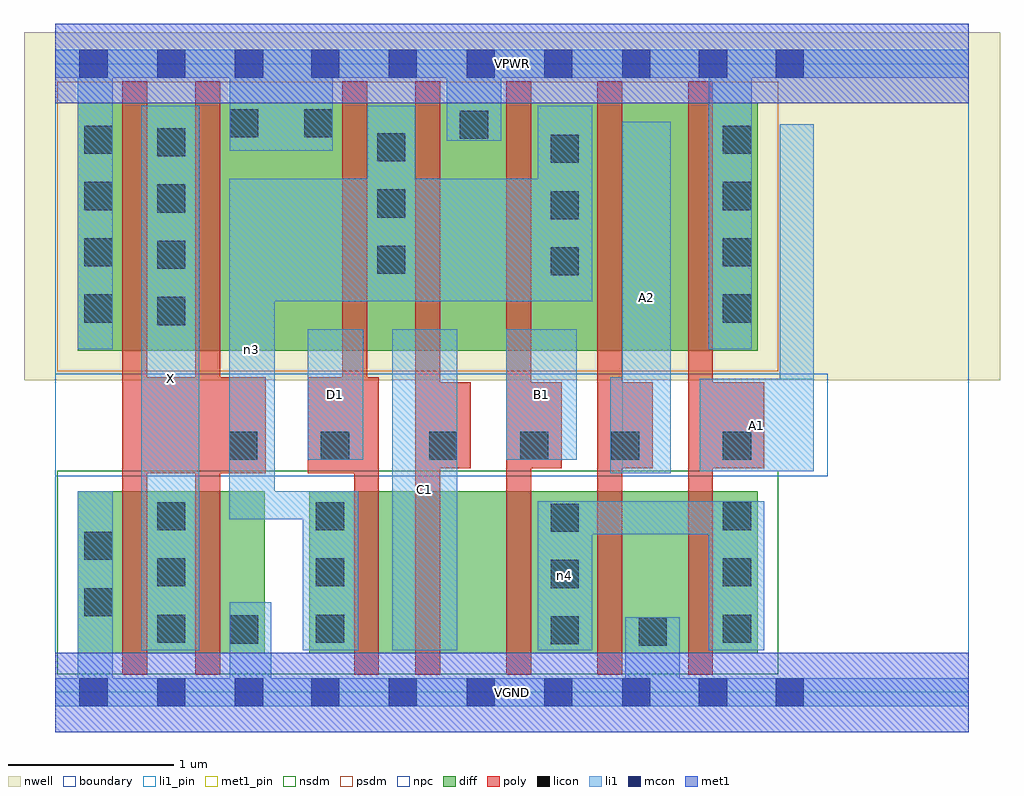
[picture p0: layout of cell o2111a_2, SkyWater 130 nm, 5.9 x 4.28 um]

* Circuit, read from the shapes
.subckt o2111a_2 A1 A2 B1 C1 D1 VGND VPWR X n3 n4
XM1 X n3 VGND VSUBS sky130_fd_pr__nfet_01v8 w=0.98 l=0.15 m=2
XM2 n1 D1 n3 VSUBS sky130_fd_pr__nfet_01v8 w=0.98 l=0.15
XM3 n2 C1 n1 VSUBS sky130_fd_pr__nfet_01v8 w=0.98 l=0.15
XM4 n4 B1 n2 VSUBS sky130_fd_pr__nfet_01v8 w=0.98 l=0.15
XM5 VGND A2 n4 VSUBS sky130_fd_pr__nfet_01v8 w=0.98 l=0.15
XM6 n4 A1 VGND VSUBS sky130_fd_pr__nfet_01v8 w=0.98 l=0.15
XM7 X n3 VPWR n5 sky130_fd_pr__pfet_01v8 w=1.5 l=0.15 m=2
XM8 n3 D1 VPWR n5 sky130_fd_pr__pfet_01v8 w=1.5 l=0.15
XM9 VPWR C1 n3 n5 sky130_fd_pr__pfet_01v8 w=1.5 l=0.15
XM10 n3 B1 VPWR n5 sky130_fd_pr__pfet_01v8 w=1.5 l=0.15
XM11 n6 A2 n3 n5 sky130_fd_pr__pfet_01v8 w=1.5 l=0.15
XM12 VPWR A1 n6 n5 sky130_fd_pr__pfet_01v8 w=1.5 l=0.15
.ends

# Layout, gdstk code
import gdstk
lib = gdstk.Library(unit=1e-6, precision=1e-09)
def R(c, l, rs):  # rectangles x0, y0, x1, y1
    for r in rs: c.add(gdstk.rectangle(r[:2], r[2:], *l))
def A(c, l, x, y, w, h, nx, ny, dx, dy):  # array of equal rectangles
    R(c, l, [(x+i*dx, y+j*dy, x+i*dx+w, y+j*dy+h) for i in range(nx) for j in range(ny)])
nwell = (64, 20)
diff = (65, 20)
poly = (66, 20)
licon = (66, 44)
li1_pin = (67, 16)
li1 = (67, 20)
mcon = (67, 44)
met1_pin = (68, 16)
met1 = (68, 20)
nsdm = (93, 44)
psdm = (94, 20)
npc = (95, 20)
boundary = (235, 4)

o2111a_2 = lib.new_cell('o2111a_2')
R(o2111a_2, nwell, [(-0.19,1.885,5.71,3.99), (0,1.885,5.52,3.99)])
R(o2111a_2, diff, [(0.135,0.235,1.265,1.215), (1.535,0.235,4.245,1.215), (0.135,2.065,4.245,3.565)])
A(o2111a_2, poly, 2.175, 0.105, 0.15, 3.59, 4, 1, 0.55, 0)
A(o2111a_2, poly, 2.175, 1.355, 0.335, 0.52, 3, 1, 0.55, 0)
R(o2111a_2, poly, [(0.405,0.105,0.555,3.695), (0.845,0.105,0.995,3.695), (1.805,0.105,1.955,1.905), (0.405,1.325,1.27,1.905), (1.525,1.325,1.955,1.905), (1.735,1.325,1.885,3.695), (3.825,1.355,4.285,1.875)])
A(o2111a_2, licon, 2.995, 0.29, 0.17, 0.17, 1, 3, 0, 0.34)
A(o2111a_2, licon, 0.615, 0.3, 0.17, 0.17, 1, 3, 0, 0.34)
A(o2111a_2, licon, 1.575, 0.3, 0.17, 0.17, 1, 3, 0, 0.34)
A(o2111a_2, licon, 4.035, 0.3, 0.17, 0.17, 1, 3, 0, 0.34)
A(o2111a_2, licon, 2.26, 1.405, 0.17, 0.17, 3, 1, 0.55, 0)
A(o2111a_2, licon, 0.615, 2.22, 0.17, 0.17, 1, 4, 0, 0.34)
A(o2111a_2, licon, 0.175, 2.235, 0.17, 0.17, 1, 4, 0, 0.34)
A(o2111a_2, licon, 4.035, 2.235, 0.17, 0.17, 1, 4, 0, 0.34)
A(o2111a_2, licon, 2.995, 2.52, 0.17, 0.17, 1, 3, 0, 0.34)
A(o2111a_2, licon, 1.945, 2.53, 0.17, 0.17, 1, 3, 0, 0.34)
R(o2111a_2, licon, [(3.525,0.28,3.695,0.45), (1.055,0.295,1.225,0.465), (0.175,0.46,0.345,0.63), (0.175,0.8,0.345,0.97), (1.05,1.405,1.22,1.575), (1.605,1.405,1.775,1.575), (4.035,1.405,4.205,1.575), (2.445,3.345,2.615,3.515), (1.055,3.355,1.225,3.525), (1.505,3.355,1.675,3.525)])
R(o2111a_2, li1_pin, [(0.52,0.255,0.87,3.545), (2.035,0.255,2.43,2.195), (3.425,1.325,3.72,3.45), (3.895,1.335,4.585,1.895), (1.525,1.405,1.86,2.195), (2.725,1.405,3.15,2.195)])
R(o2111a_2, li1, [(0,-0.085,5.52,0.085), (0.135,-0.085,0.345,1.215), (1.055,-0.085,1.305,0.545), (3.445,-0.085,3.775,0.455), (0.52,0.255,0.87,3.545), (1.495,0.255,1.83,1.215), (2.035,0.255,2.43,2.195), (2.915,0.255,3.245,1.155), (3.95,0.255,4.285,1.155), (2.915,0.955,4.285,1.155), (1.05,1.045,1.325,3.105), (1.05,1.045,1.83,1.215), (3.355,1.325,3.72,1.905), (3.425,1.325,3.72,3.45), (3.895,1.335,4.585,1.895), (4.38,1.335,4.585,3.435), (1.525,1.405,1.86,2.195), (2.725,1.405,3.15,2.195), (0.135,2.075,0.345,3.885), (3.95,2.075,4.21,3.885), (1.05,2.365,3.245,3.105), (1.885,2.365,2.175,3.545), (2.915,2.365,3.245,3.545), (1.055,3.275,1.675,3.885), (2.365,3.335,2.695,3.885), (0,3.715,5.52,3.885)])
A(o2111a_2, mcon, 0.145, -0.085, 0.17, 0.17, 3, 2, 0.47, 3.8)
A(o2111a_2, mcon, 1.545, -0.085, 0.17, 0.17, 5, 2, 0.47, 3.8)
R(o2111a_2, mcon, [(3.89,-0.085,4.06,0.085), (4.355,-0.085,4.525,0.085), (3.89,3.715,4.06,3.885), (4.355,3.715,4.525,3.885)])
R(o2111a_2, met1_pin, [(0,-0.24,5.52,0.24), (0,3.56,5.52,4.04)])
R(o2111a_2, met1, [(0,-0.24,5.52,0.24), (0,3.56,5.52,4.04)])
R(o2111a_2, nsdm, [(0.01,0.11,4.37,1.34)])
R(o2111a_2, psdm, [(0.01,1.94,4.37,3.69)])
R(o2111a_2, npc, [(0,1.305,4.67,1.925)])
R(o2111a_2, boundary, [(0,0,5.52,3.8)])
o2111a_2.add(gdstk.Label('A1', (4.24,1.615), layer=67, texttype=5))
o2111a_2.add(gdstk.Label('A2', (3.572,2.387), layer=67, texttype=5))
o2111a_2.add(gdstk.Label('B1', (2.937,1.8), layer=67, texttype=5))
o2111a_2.add(gdstk.Label('C1', (2.232,1.225), layer=67, texttype=5))
o2111a_2.add(gdstk.Label('D1', (1.692,1.8), layer=67, texttype=5))
o2111a_2.add(gdstk.Label('X', (0.695,1.9), layer=67, texttype=5))
o2111a_2.add(gdstk.Label('n4', (3.08,0.705), layer=67, texttype=5))
o2111a_2.add(gdstk.Label('n3', (1.187,2.075), layer=67, texttype=5))
o2111a_2.add(gdstk.Label('VPWR', (2.76,3.8), layer=68, texttype=5))
o2111a_2.add(gdstk.Label('VGND', (2.76,0), layer=68, texttype=5))
o2111a_2.add(gdstk.Label('A1', (4.24,1.615), layer=67, texttype=16))
o2111a_2.add(gdstk.Label('A2', (3.572,2.387), layer=67, texttype=16))
o2111a_2.add(gdstk.Label('B1', (2.937,1.8), layer=67, texttype=16))
o2111a_2.add(gdstk.Label('C1', (2.232,1.225), layer=67, texttype=16))
o2111a_2.add(gdstk.Label('D1', (1.692,1.8), layer=67, texttype=16))
o2111a_2.add(gdstk.Label('X', (0.695,1.9), layer=67, texttype=16))
o2111a_2.add(gdstk.Label('VPWR', (2.76,3.8), layer=68, texttype=16))
o2111a_2.add(gdstk.Label('VGND', (2.76,0), layer=68, texttype=16))

lib.write_gds('o2111a_2.gds')
